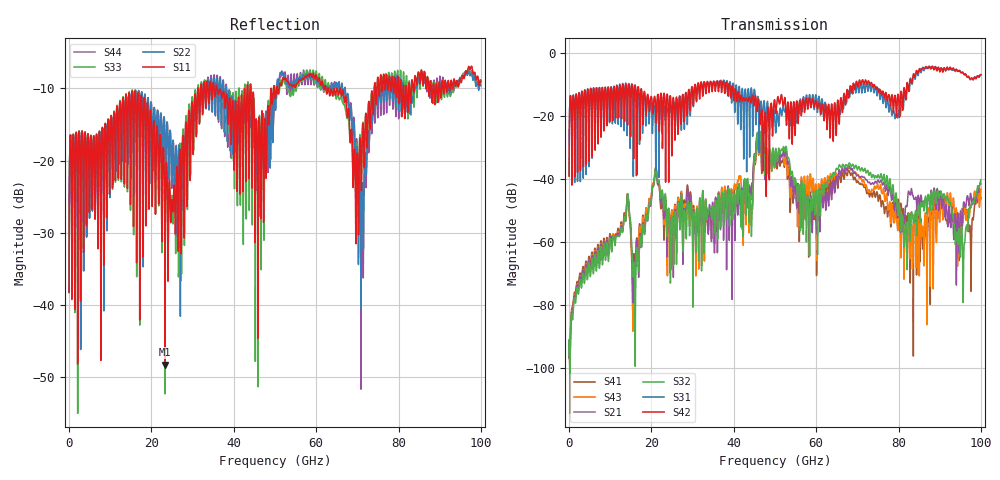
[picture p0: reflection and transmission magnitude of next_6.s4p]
# Hz S RI R 50
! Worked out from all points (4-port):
!   10000 points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, 10 MHz to 100 GHz, reference 50 ohm
!   strongest paths, dB at 10 MHz, 25.01 GHz, 50.01 GHz, 75.01 GHz, 100 GHz:
!     S42: -39.1, -23.6, -16.0, -11.7, -6.9
!     S31: -39.0, -20.9, -22.3, -12.0, -6.9
!     S32: -96.0, -52.0, -35.1, -38.7, -40.2
!     S21: -96.4, -52.3, -34.5, -40.4, -41.5
!     S43: -96.4, -49.8, -35.4, -42.3, -43.1
!     S41: -96.8, -49.9, -35.1, -46.3, -45.9
!   lowest |S11| = -48.3 dB at 23.29 GHz (marker M1), VSWR 1.01, Z = 49.7 + j0.255 ohm
!   |S11| at or under -10 dB: start of sweep to 31.27 GHz; 35.95 GHz to 42.6 GHz (6.648 GHz wide, 16.9 % of centre); 65.82 GHz to 74.11 GHz (8.291 GHz wide, 11.8 % of centre)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
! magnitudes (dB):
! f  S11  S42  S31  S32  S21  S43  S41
! 10 MHz  -38.2  -39.1  -39.0  -96.0  -96.4  -96.4  -96.8
! 23.29 GHz  -48.3  -16.9  -20.8  -45.2  -45.7  -47.6  -47.7
! 44.11 GHz  -9.7  -15.9  -12.3  -47.0  -44.8  -50.6  -46.5
! 46.1 GHz  -14.2  -15.1  -25.6  -30.7  -30.0  -32.1  -31.9
! 60.47 GHz  -9.0  -17.1  -15.9  -47.8  -48.1  -43.1  -45.8
! 95.41 GHz  -8.7  -6.1  -6.3  -55.9  -56.1  -49.4  -55.7
! 100 GHz  -9.1  -6.9  -6.9  -40.2  -41.5  -43.1  -45.9
